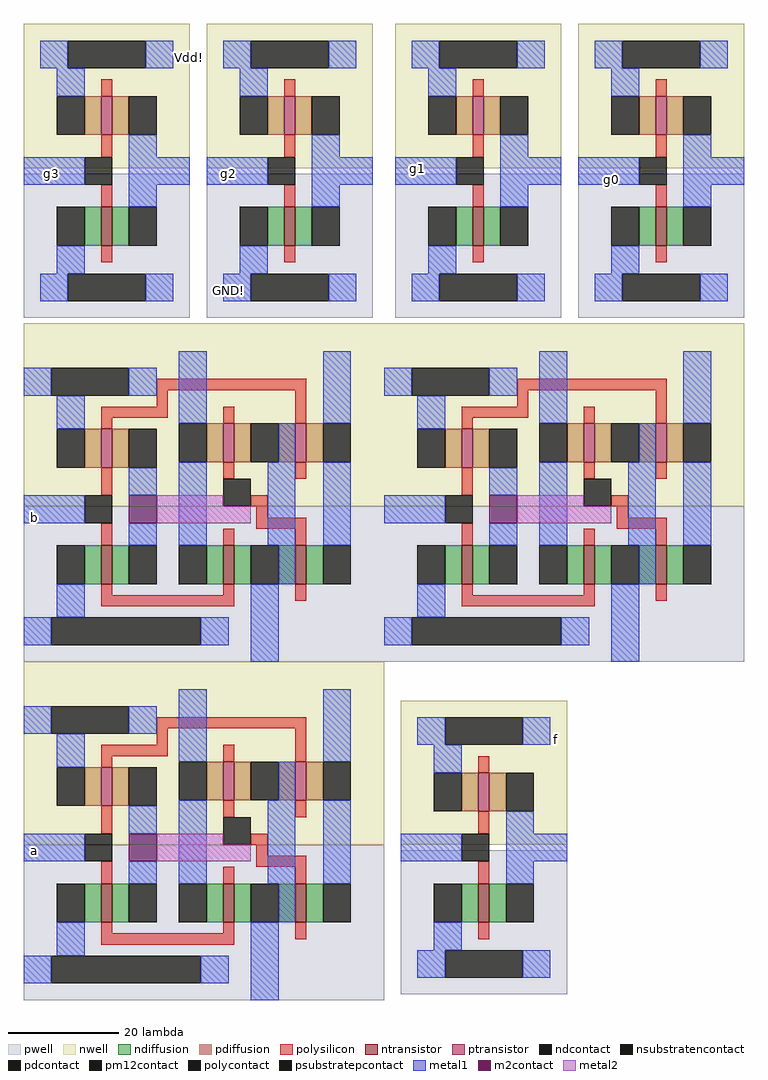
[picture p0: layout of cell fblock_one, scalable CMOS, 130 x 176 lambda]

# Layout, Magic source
magic
tech scmos
use 2mux_nr  2mux_nr_2 /home/user
transform 0 -1 22 -1 0 -61
box -32 -38 29 27
use 2mux_nr  2mux_nr_0
transform 0 -1 22 -1 0 0
box -32 -38 29 27
use 2mux_nr  2mux_nr_1
transform 0 -1 87 -1 0 0
box -32 -38 29 27
use inv  inv_0 /home/user
transform 1 0 73 0 1 -76
box -10 -13 20 40
use inv  inv_2
transform 1 0 38 0 1 46
box -10 -13 20 40
use inv  inv_4
transform 1 0 105 0 1 46
box -10 -13 20 40
use inv  inv_1
transform 1 0 5 0 1 46
box -10 -13 20 40
use inv  inv_3
transform 1 0 72 0 1 46
box -10 -13 20 40
<< labels >>
rlabel metal1 0 59 0 59 3 g3
rlabel metal1 32 59 32 59 1 g2
rlabel metal1 66 60 66 60 1 g1
rlabel metal1 101 58 101 58 1 g0
rlabel metal1 91 -43 91 -43 1 f
rlabel metal1 -3 -63 -3 -63 3 a
rlabel metal1 -3 -3 -3 -3 3 b
rlabel metal1 32 38 32 38 1 GND!
rlabel metal1 25 80 25 80 1 Vdd!
<< end >>

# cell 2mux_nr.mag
magic
tech scmos
<< nwell >>
rect -32 -38 1 27
<< pwell >>
rect 1 -38 29 27
<< ntransistor >>
rect 8 11 15 13
rect 8 -11 15 -9
rect 8 -24 15 -22
<< ptransistor >>
rect -13 11 -6 13
rect -14 -11 -7 -9
rect -14 -24 -7 -22
<< ndiffusion >>
rect 8 13 15 16
rect 8 8 15 11
rect 8 -9 15 -6
rect 8 -14 15 -11
rect 8 -22 15 -19
rect 8 -27 15 -24
<< pdiffusion >>
rect -13 13 -6 16
rect -13 8 -6 11
rect -14 -9 -7 -6
rect -14 -14 -7 -11
rect -14 -22 -7 -19
rect -14 -27 -7 -24
<< ndcontact >>
rect 8 16 15 21
rect 8 3 15 8
rect 8 -6 15 -1
rect 8 -19 15 -14
rect 8 -32 15 -27
<< pdcontact >>
rect -13 16 -6 21
rect -13 3 -6 8
rect -14 -6 -7 -1
rect -14 -19 -7 -14
rect -14 -32 -7 -27
<< psubstratepcontact >>
rect 21 -5 26 22
<< nsubstratencontact >>
rect -24 8 -19 22
<< polysilicon >>
rect -17 11 -13 13
rect -6 11 -1 13
rect 4 11 8 13
rect 15 11 19 13
rect -17 3 -15 11
rect -22 1 -15 3
rect -22 -22 -20 1
rect 17 -9 19 11
rect -17 -11 -14 -9
rect -7 -11 -4 -9
rect 5 -11 8 -9
rect 15 -11 19 -9
rect -1 -15 1 -14
rect -1 -17 5 -15
rect 3 -22 5 -17
rect -22 -24 -14 -22
rect -7 -24 -4 -22
rect 3 -24 8 -22
rect 15 -24 18 -22
<< polycontact >>
rect -1 11 4 16
<< metal1 >>
rect -24 22 -19 27
rect -19 16 -13 21
rect -1 16 4 27
rect 21 22 26 27
rect 15 16 21 21
rect -24 3 -19 8
rect -6 3 -1 8
rect 4 3 8 8
rect -27 -6 -14 -1
rect -7 -6 8 -1
rect 21 -10 26 -5
rect -7 -19 8 -17
rect 15 -19 29 -14
rect -14 -22 15 -19
rect -27 -32 -14 -27
rect -7 -32 8 -27
<< m2contact >>
rect -1 3 4 8
<< pm12contact >>
rect -4 -14 1 -9
<< metal2 >>
rect -1 -9 4 3
rect 1 -14 4 -9
<< labels >>
rlabel metal1 -1 27 4 27 5 s
rlabel metal1 21 27 26 27 5 GND!
rlabel metal1 29 -19 29 -14 7 out
rlabel metal1 -24 27 -19 27 5 Vdd!
rlabel metal1 -27 -6 -27 -1 3 in1
rlabel metal1 -27 -32 -27 -27 3 in0
<< end >>

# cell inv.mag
magic
tech scmos
<< nwell >>
rect -10 14 20 40
<< pwell >>
rect -10 -13 20 13
<< ntransistor >>
rect 4 0 6 7
<< ptransistor >>
rect 4 20 6 27
<< ndiffusion >>
rect 1 0 4 7
rect 6 0 9 7
<< pdiffusion >>
rect 1 20 4 27
rect 6 20 9 27
<< ndcontact >>
rect -4 0 1 7
rect 9 0 14 7
<< pdcontact >>
rect -4 20 1 27
rect 9 20 14 27
<< psubstratepcontact >>
rect -2 -10 12 -5
<< nsubstratencontact >>
rect -2 32 12 37
<< polysilicon >>
rect 4 27 6 30
rect 4 16 6 20
rect 4 7 6 11
rect 4 -3 6 0
<< polycontact >>
rect 1 11 6 16
<< metal1 >>
rect -7 32 -2 37
rect 12 32 17 37
rect -4 27 1 32
rect 9 16 14 20
rect -10 11 1 16
rect 9 11 20 16
rect 9 7 14 11
rect -4 -5 1 0
rect -7 -10 -2 -5
rect 12 -10 17 -5
<< labels >>
rlabel metal1 -10 11 -10 16 3 in
rlabel metal1 20 11 20 16 7 out
rlabel metal1 -5 34 -5 34 3 Vdd!
rlabel metal1 -5 -7 -5 -7 3 GND!
<< end >>
